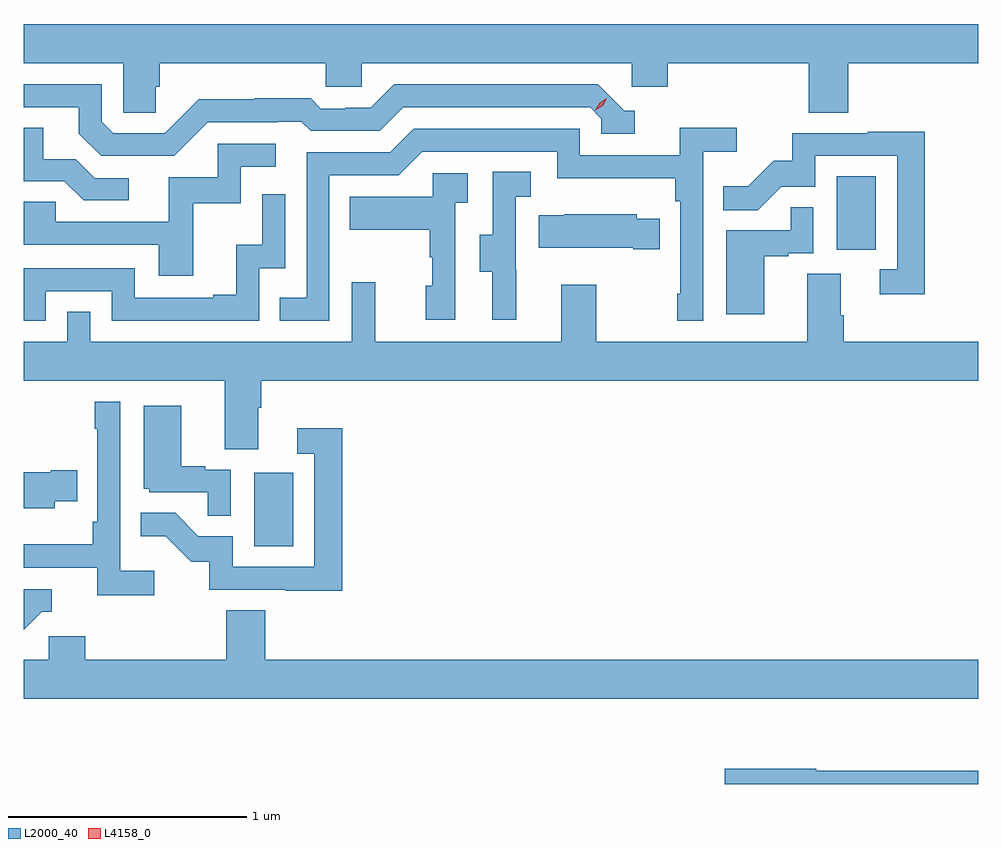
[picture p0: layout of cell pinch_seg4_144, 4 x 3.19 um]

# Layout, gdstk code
import gdstk
lib = gdstk.Library(unit=1e-6, precision=1e-09)
def R(c, l, rs):  # rectangles x0, y0, x1, y1
    for r in rs: c.add(gdstk.rectangle(r[:2], r[2:], *l))
def P(c, l, *ps):  # polygons
    for p in ps: c.add(gdstk.Polygon(p, *l))
L2000_40 = (2000, 40)
L4158_0 = (4158, 0)

pinch_seg4_144 = lib.new_cell('pinch_seg4_144')
R(pinch_seg4_144, L2000_40, [(1093.322,805.452,1093.486,805.759), (1095.764,806.694,1095.928,807.001)])
P(pinch_seg4_144, L2000_40, [(1092.911,807.378),(1092.926,807.378),(1092.926,807.476),(1093.623,807.476),(1093.623,807.378),(1093.773,807.378),(1093.773,807.476),(1094.904,807.476),(1094.904,807.378),(1095.056,807.378),(1095.056,807.476),(1095.647,807.476),(1095.647,807.268),(1095.812,807.268),(1095.812,807.476),(1096.357,807.476),(1096.357,807.64),(1092.357,807.64),(1092.357,807.476),(1092.774,807.476),(1092.774,807.268),(1092.911,807.268)],
  [(1093.128,807.228),(1093.421,807.228),(1093.421,807.231),(1093.52,807.231),(1093.559,807.192),(1093.848,807.192),(1093.947,807.291),(1094.73,807.291),(1094.778,807.243),(1094.778,807.18),(1094.917,807.18),(1094.917,807.276),(1094.874,807.276),(1094.763,807.387),(1093.91,807.387),(1093.811,807.288),(1093.704,807.288),(1093.704,807.285),(1093.601,807.285),(1093.559,807.328),(1093.326,807.328),(1093.326,807.325),(1093.09,807.325),(1092.948,807.183),(1092.732,807.183),(1092.684,807.231),(1092.684,807.387),(1092.357,807.387),(1092.357,807.291),(1092.587,807.291),(1092.587,807.181),(1092.681,807.087),(1092.987,807.087)],
  [(1093.638,807.006),(1093.929,807.006),(1094.028,807.105),(1094.592,807.105),(1094.592,806.993),(1095.088,806.993),(1095.088,806.897),(1095.108,806.897),(1095.108,806.509),(1095.096,806.509),(1095.096,806.397),(1095.204,806.397),(1095.204,807.104),(1095.346,807.104),(1095.346,807.206),(1095.107,807.206),(1095.107,807.09),(1094.688,807.09),(1094.688,807.201),(1093.991,807.201),(1093.892,807.102),(1093.542,807.102),(1093.542,806.493),(1093.429,806.493),(1093.429,806.397),(1093.638,806.397)],
  [(1092.796,806.994),(1092.654,806.994),(1092.574,807.074),(1092.439,807.074),(1092.439,807.206),(1092.357,807.206),(1092.357,806.982),(1092.527,806.982),(1092.608,806.901),(1092.796,806.901)],
  [(1096.133,807.188),(1095.895,807.188),(1095.895,807.183),(1095.577,807.183),(1095.577,807.066),(1095.5,807.066),(1095.393,806.959),(1095.289,806.959),(1095.289,806.86),(1095.433,806.86),(1095.531,806.958),(1095.675,806.958),(1095.675,807.087),(1096.017,807.087),(1096.017,806.613),(1095.945,806.613),(1095.945,806.508),(1096.133,806.508)],
  [(1093.067,806.889),(1093.266,806.889),(1093.266,807.042),(1093.414,807.042),(1093.414,807.138),(1093.17,807.138),(1093.17,806.997),(1092.965,806.997),(1092.965,806.811),(1092.491,806.811),(1092.491,806.895),(1092.357,806.895),(1092.357,806.715),(1092.923,806.715),(1092.923,806.586),(1093.067,806.586)],
  [(1094.42,806.613),(1094.418,806.613),(1094.418,806.917),(1094.482,806.917),(1094.482,807.02),(1094.322,807.02),(1094.322,806.757),(1094.267,806.757),(1094.267,806.602),(1094.321,806.602),(1094.321,806.4),(1094.42,806.4)],
  [(1094.166,806.891),(1094.218,806.891),(1094.218,807.015),(1094.07,807.015),(1094.07,806.917),(1093.723,806.917),(1093.723,806.777),(1094.058,806.777),(1094.058,806.663),(1094.068,806.663),(1094.068,806.544),(1094.042,806.544),(1094.042,806.4),(1094.166,806.4)],
  [(1092.45,806.52),(1092.726,806.52),(1092.726,806.397),(1093.344,806.397),(1093.344,806.616),(1093.452,806.616),(1093.452,806.926),(1093.356,806.926),(1093.356,806.714),(1093.247,806.714),(1093.247,806.506),(1093.151,806.506),(1093.151,806.493),(1092.822,806.493),(1092.822,806.616),(1092.357,806.616),(1092.357,806.397),(1092.45,806.397)],
  [(1095.46,806.667),(1095.56,806.667),(1095.56,806.679),(1095.666,806.679),(1095.666,806.873),(1095.571,806.873),(1095.571,806.775),(1095.302,806.775),(1095.302,806.424),(1095.46,806.424)],
  [(1095.023,806.824),(1094.925,806.824),(1094.925,806.842),(1094.623,806.842),(1094.623,806.839),(1094.515,806.839),(1094.515,806.702),(1094.912,806.702),(1094.912,806.695),(1095.023,806.695)],
  [(1093.339,806.032),(1093.352,806.032),(1093.352,806.144),(1096.357,806.144),(1096.357,806.308),(1095.794,806.308),(1095.794,806.42),(1095.781,806.42),(1095.781,806.594),(1095.641,806.594),(1095.641,806.308),(1094.757,806.308),(1094.757,806.548),(1094.609,806.548),(1094.609,806.308),(1093.829,806.308),(1093.829,806.557),(1093.731,806.557),(1093.731,806.308),(1092.636,806.308),(1092.636,806.435),(1092.54,806.435),(1092.54,806.308),(1092.357,806.308),(1092.357,806.144),(1093.199,806.144),(1093.199,805.858),(1093.339,805.858)],
  [(1092.904,805.348),(1092.762,805.348),(1092.762,806.056),(1092.654,806.056),(1092.654,805.943),(1092.666,805.943),(1092.666,805.555),(1092.646,805.555),(1092.646,805.459),(1092.357,805.459),(1092.357,805.362),(1092.665,805.362),(1092.665,805.246),(1092.904,805.246)],
  [(1093.224,805.773),(1093.118,805.773),(1093.118,805.786),(1093.018,805.786),(1093.018,806.041),(1092.86,806.041),(1092.86,805.692),(1092.882,805.692),(1092.882,805.677),(1093.129,805.677),(1093.129,805.579),(1093.224,805.579)],
  [(1093.691,805.945),(1093.503,805.945),(1093.503,805.839),(1093.575,805.839),(1093.575,805.365),(1093.233,805.365),(1093.233,805.494),(1093.089,805.494),(1092.991,805.592),(1092.847,805.592),(1092.847,805.493),(1092.951,805.493),(1093.058,805.386),(1093.135,805.386),(1093.135,805.269),(1093.453,805.269),(1093.453,805.264),(1093.691,805.264)],
  [(1092.487,805.64),(1092.581,805.64),(1092.581,805.77),(1092.47,805.77),(1092.47,805.762),(1092.357,805.762),(1092.357,805.61),(1092.487,805.61)],
  [(1092.432,805.176),(1092.475,805.176),(1092.475,805.272),(1092.357,805.272),(1092.357,805.101)],
  [(1096.357,804.976),(1093.37,804.976),(1093.37,805.184),(1093.205,805.184),(1093.205,804.976),(1092.614,804.976),(1092.614,805.074),(1092.462,805.074),(1092.462,804.976),(1092.357,804.976),(1092.357,804.812),(1096.357,804.812)],
  [(1096.357,804.511),(1095.678,804.511),(1095.678,804.519),(1095.294,804.519),(1095.294,804.455),(1096.357,804.455)])
P(pinch_seg4_144, L4158_0, [(1094.753,807.278),(1094.753,807.278),(1094.77,807.311),(1094.801,807.329),(1094.801,807.329),(1094.801,807.329),(1094.784,807.297),(1094.753,807.278)])

lib.write_gds('pinch_seg4_144.gds')
